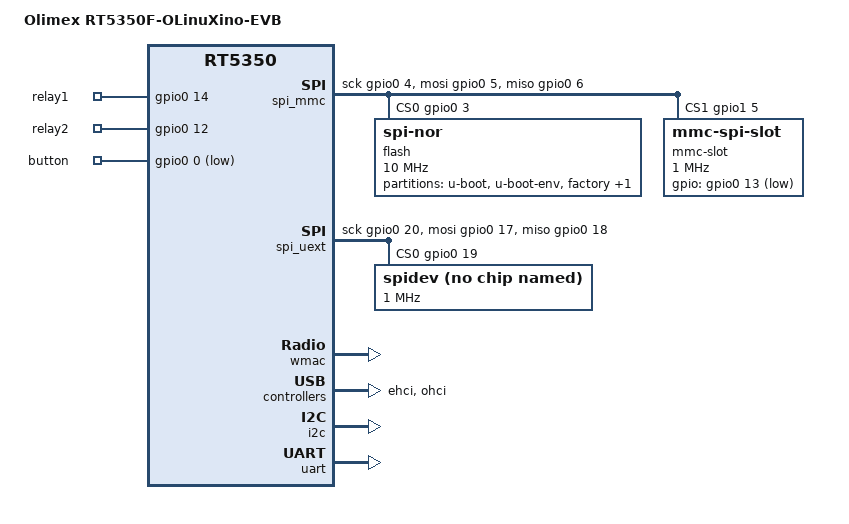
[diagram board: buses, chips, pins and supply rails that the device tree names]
#include "rt5350_olimex_rt5350f-olinuxino.dtsi"

#include <dt-bindings/gpio/gpio.h>

/ {
	compatible = "olimex,rt5350f-olinuxino-evb", "ralink,rt5350-soc";
	model = "Olimex RT5350F-OLinuXino-EVB";
	
	aliases {
		spi0 = &spi_mmc;
		spi1 = &spi_uext;
	};

	gpio_export {
		compatible = "gpio-export";
		#size-cells = <0>;

		relay1 {
			gpio-export,name = "relay1";
			gpio-export,output = <0>;
			gpios = <&gpio0 14 GPIO_ACTIVE_HIGH>;
		};

		relay2 {
			gpio-export,name = "relay2";
			gpio-export,output = <0>;
			gpios = <&gpio0 12 GPIO_ACTIVE_HIGH>;
		};

		button {
			gpio-export,name = "button";
			gpios = <&gpio0 0 GPIO_ACTIVE_LOW>;
		};
	};
	
	spi_mmc: spi-mmc {
		compatible = "spi-gpio";
		#address-cells = <1>;
		ranges;

		sck-gpios = <&gpio0 4 GPIO_ACTIVE_HIGH>;
		miso-gpios = <&gpio0 6 GPIO_ACTIVE_HIGH>;
		mosi-gpios = <&gpio0 5 GPIO_ACTIVE_HIGH>;
		cs-gpios = <&gpio0 3 GPIO_ACTIVE_HIGH>, <&gpio1 5 GPIO_ACTIVE_HIGH>;
		num-chipselects = <2>;

		flash@0 {
			compatible = "jedec,spi-nor";
			reg = <0>;
			spi-max-frequency = <10000000>;

			partitions {
				compatible = "fixed-partitions";
				#address-cells = <1>;
				#size-cells = <1>;

				partition@0 {
					label = "u-boot";
					reg = <0x0 0x30000>;
					read-only;
				};

				partition@30000 {
					label = "u-boot-env";
					reg = <0x30000 0x10000>;
					read-only;
				};

				factory: partition@40000 {
					label = "factory";
					reg = <0x40000 0x10000>;
					read-only;
				};

				partition@50000 {
					compatible = "denx,uimage";
					label = "firmware";
					reg = <0x50000 0x7b0000>;
				};
			};
		};

		mmc-slot@0 {
			compatible = "mmc-spi-slot";
			reg = <1>;

			voltage-ranges = <3200 3400>;
			spi-max-frequency = <1000000>;

			gpios = <&gpio0 13 GPIO_ACTIVE_LOW>;
		};
	};
	
	spi_uext: spi-uext {
		compatible = "spi-gpio";
		#address-cells = <1>;
		ranges;

		sck-gpios = <&gpio0 20 GPIO_ACTIVE_HIGH>;
		miso-gpios = <&gpio0 18 GPIO_ACTIVE_HIGH>;
		mosi-gpios = <&gpio0 17 GPIO_ACTIVE_HIGH>;
		cs-gpios = <&gpio0 19 GPIO_ACTIVE_HIGH>;
		num-chipselects = <1>;

		spidev@1 {
			compatible = "spidev";
			status = "okay";
			reg = <0>;
			spi-max-frequency = <1000000>;
		};
	};
};

&spi0 {
	status = "disabled";
	/delete-node/ flash@0;
};

&ethernet {
	nvmem-cells = <&macaddr_factory_4>;
	nvmem-cell-names = "mac-address";
};

&esw {
	mediatek,portmap = <0x2f>;
	mediatek,led_polarity = <0x17>;
};

&wmac {
	ralink,mtd-eeprom = <&factory 0x0>;
	ralink,led-polarity = <1>;
};

&ehci {
	status = "okay";
};

&ohci {
	status = "okay";
};

&i2c {
	status = "okay";
};

&uart {
	status = "okay";
};

&gpio1 {
	status = "okay";
};

&factory {
	compatible = "nvmem-cells";
	#address-cells = <1>;
	#size-cells = <1>;

	macaddr_factory_4: macaddr@4 {
		reg = <0x4 0x6>;
	};
};

&state_default {
	gpio {
		groups = "jtag";
		function = "gpio";
	};
	uartf_gpio {
		groups = "uartf";
		function = "gpio uartf";
	};
	spi_pins {
		groups = "spi";
		function = "gpio";
	};
	spi_cs1 {
		groups = "spi_cs1";
		function = "gpio";
	};
};
